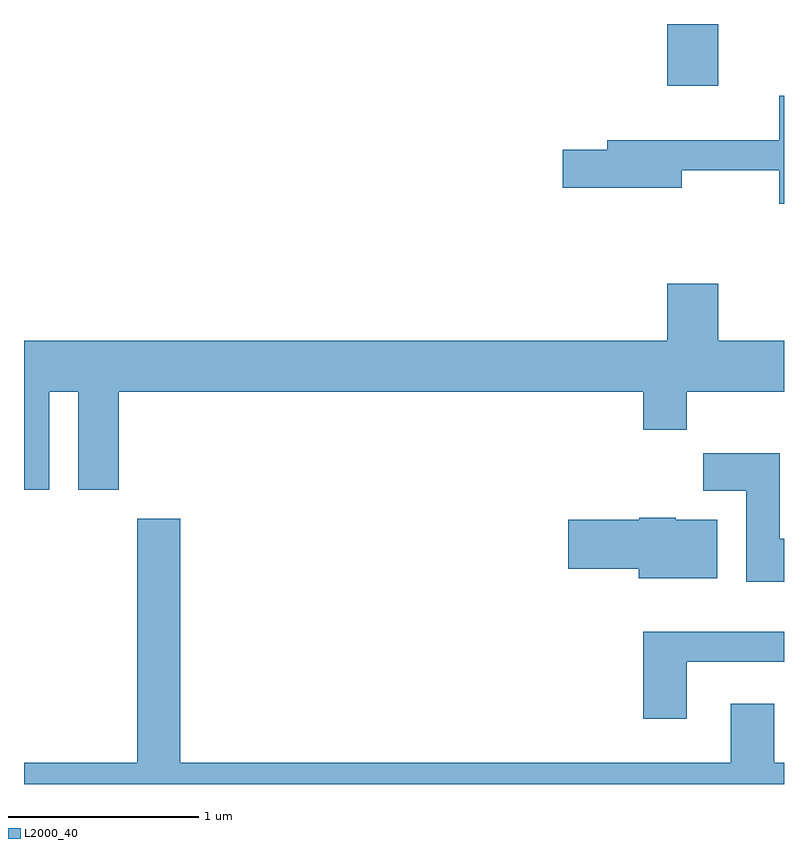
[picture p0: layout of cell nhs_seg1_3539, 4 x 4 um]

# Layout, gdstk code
import gdstk
lib = gdstk.Library(unit=1e-6, precision=1e-09)
def R(c, l, rs):  # rectangles x0, y0, x1, y1
    for r in rs: c.add(gdstk.rectangle(r[:2], r[2:], *l))
def P(c, l, *ps):  # polygons
    for p in ps: c.add(gdstk.Polygon(p, *l))
L2000_40 = (2000, 40)

nhs_seg1_3539 = lib.new_cell('nhs_seg1_3539')
R(nhs_seg1_3539, L2000_40, [(294.996,923.386,295.264,923.712)])
P(nhs_seg1_3539, L2000_40, [(295.611,923.334),(295.586,923.334),(295.586,923.099),(294.681,923.099),(294.681,923.049),(294.446,923.049),(294.446,922.851),(295.074,922.851),(295.074,922.941),(295.586,922.941),(295.586,922.766),(295.611,922.766)],
  [(291.744,921.776),(291.896,921.776),(291.896,921.261),(292.109,921.261),(292.109,921.776),(294.871,921.776),(294.871,921.576),(295.099,921.576),(295.099,921.776),(295.611,921.776),(295.611,922.044),(295.264,922.044),(295.264,922.344),(294.996,922.344),(294.996,922.044),(291.611,922.044),(291.611,921.261),(291.744,921.261)],
  [(295.611,921.004),(295.589,921.004),(295.589,921.454),(295.186,921.454),(295.186,921.256),(295.411,921.256),(295.411,920.776),(295.611,920.776)],
  [(295.259,921.104),(295.04,921.104),(295.04,921.114),(294.85,921.114),(294.85,921.104),(294.476,921.104),(294.476,920.846),(294.846,920.846),(294.846,920.796),(295.259,920.796)],
  [(295.611,919.824),(295.559,919.824),(295.559,920.134),(295.331,920.134),(295.331,919.824),(292.434,919.824),(292.434,921.109),(292.206,921.109),(292.206,919.824),(291.611,919.824),(291.611,919.712),(295.611,919.712)],
  [(295.099,920.356),(295.611,920.356),(295.611,920.514),(294.871,920.514),(294.871,920.056),(295.099,920.056)])

lib.write_gds('nhs_seg1_3539.gds')
